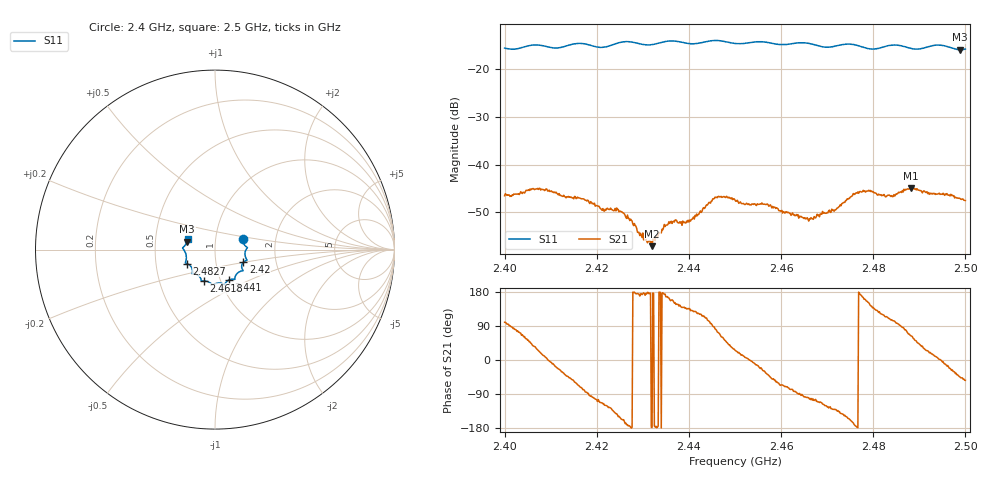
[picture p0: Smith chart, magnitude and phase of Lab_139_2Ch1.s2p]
# Hz S RI R 50
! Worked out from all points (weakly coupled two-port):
!   601 points, 2.4 GHz to 2.5 GHz, reference 50 ohm
!   highest |S21| = -44.90 dB at 2.4882 GHz (marker M1); lowest = -57.2 dB at 2.432 GHz (marker M2)
!   lowest |S11| = -15.8 dB at 2.4988 GHz (marker M3), VSWR 1.38, Z = 36.4 + j3.34 ohm
!   |S11| at or under -10 dB: start of sweep to end of sweep
!   S12 and S22 are empty: the file has one direction only
!   S11 on the Smith chart (normalised r, x): 2.4 GHz: 1.36, +0.17; 2.42 GHz: 1.36, -0.19; 2.441 GHz: 1.10, -0.39; 2.4618 GHz: 0.84, -0.30; 2.4827 GHz: 0.72, -0.12; 2.5 GHz: 0.73, +0.09
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2.4e9  0.1562 0.0617  -0.000778 0.00464  0 0  0 0
2.407167e9  0.1808 0.0107  0.00502 0.00249  0 0  0 0
2.416667e9  0.1782 -0.0594  0.0013 -0.00417  0 0  0 0
2.42e9  0.158 -0.0694  -0.000979 -0.00356  0 0  0 0
2.4255e9  0.1564 -0.1158  -0.00292 -0.00124  0 0  0 0
2.430667e9  0.1286 -0.1284  -0.00163 0.000119  0 0  0 0
2.432e9  0.1178 -0.1398  -0.00139 -4.54e-05  0 0  0 0
2.433333e9  0.1119 -0.1521  -0.00182 -0.000185  0 0  0 0
2.435667e9  0.1107 -0.1656  -0.0024 0.000712  0 0  0 0
2.441e9  0.0775 -0.1695  -0.00172 0.00222  0 0  0 0
2.446e9  0.0513 -0.1951  0.000923 0.00444  0 0  0 0
2.45e9  0.0276 -0.1858  0.00382 0.00185  0 0  0 0
2.461833e9  -0.0602 -0.1751  0.000706 -0.00298  0 0  0 0
2.466667e9  -0.0769 -0.1686  -0.000544 -0.00264  0 0  0 0
2.471833e9  -0.1132 -0.1352  -0.00217 -0.00254  0 0  0 0
2.476667e9  -0.1255 -0.1267  -0.00515 -0.000107  0 0  0 0
2.482667e9  -0.1568 -0.0779  -0.00184 0.00419  0 0  0 0
2.483333e9  -0.161 -0.0764  -0.0016 0.00449  0 0  0 0
2.488167e9  -0.1598 -0.0476  0.0025 0.00511  0 0  0 0
2.494167e9  -0.1804 0.00889  0.00493 0.000261  0 0  0 0
2.498833e9  -0.1551 0.0446  0.00312 -0.0031  0 0  0 0
2.5e9  -0.1519 0.0615  0.00248 -0.00337  0 0  0 0
